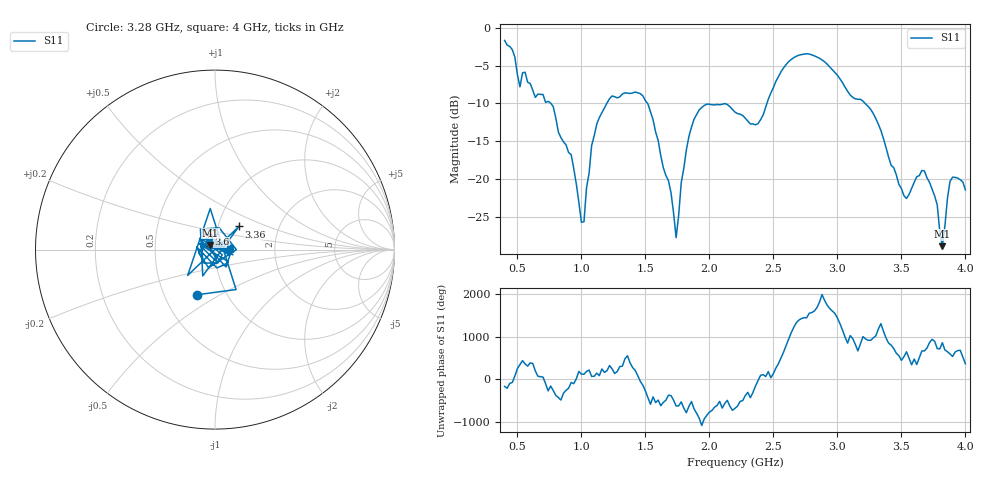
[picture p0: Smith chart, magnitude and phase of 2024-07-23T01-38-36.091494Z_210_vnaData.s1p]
!Created with skrf (http://scikit-rf.org).
# Hz S RI R 50.0
!freq ReS11 ImS11
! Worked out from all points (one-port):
!   181 points, 400 MHz to 4 GHz, reference 50 ohm
!   lowest |S11| = -28.8 dB at 3.82 GHz (marker M1), VSWR 1.08, Z = 47.4 + j2.4 ohm
!   |S11| at or under -10 dB: 762.1 MHz to 1.198 GHz (436.2 MHz wide, 44.5 % of centre); 1.517 GHz to 2.449 GHz (932.4 MHz wide, 47 % of centre); 3.217 GHz to end of sweep
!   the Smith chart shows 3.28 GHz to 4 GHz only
!   S11 on the Smith chart (normalised r, x): 3.28 GHz: 0.73, -0.39; 3.36 GHz: 1.26, +0.34; 3.6 GHz: 0.92, +0.16; 4 GHz: 1.19, +0.01
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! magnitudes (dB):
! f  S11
! 400 MHz  -1.7
! 520 MHz  -7.8
! 560 MHz  -5.9
! 760 MHz  -10.0
! 860 MHz  -15.1
! 920 MHz  -16.8
! 1.02 GHz  -25.6
! 1.08 GHz  -15.5
! 1.12 GHz  -12.7
! 1.3 GHz  -9.1
! 1.52 GHz  -10.1
! 1.7 GHz  -21.8
! 1.74 GHz  -27.7
! 1.76 GHz  -24.7
! 1.82 GHz  -16.1
! 1.88 GHz  -12.1
! 2.2 GHz  -11.1
! 2.38 GHz  -12.7
! 2.66 GHz  -3.9
! 3.1 GHz  -8.9
! 3.28 GHz  -11.3
! 3.36 GHz  -14.6
! 3.56 GHz  -22.0
! 3.6 GHz  -20.4
! 3.72 GHz  -20.4
! 3.82 GHz  -28.8
! 3.88 GHz  -20.3
! 4 GHz  -21.4
